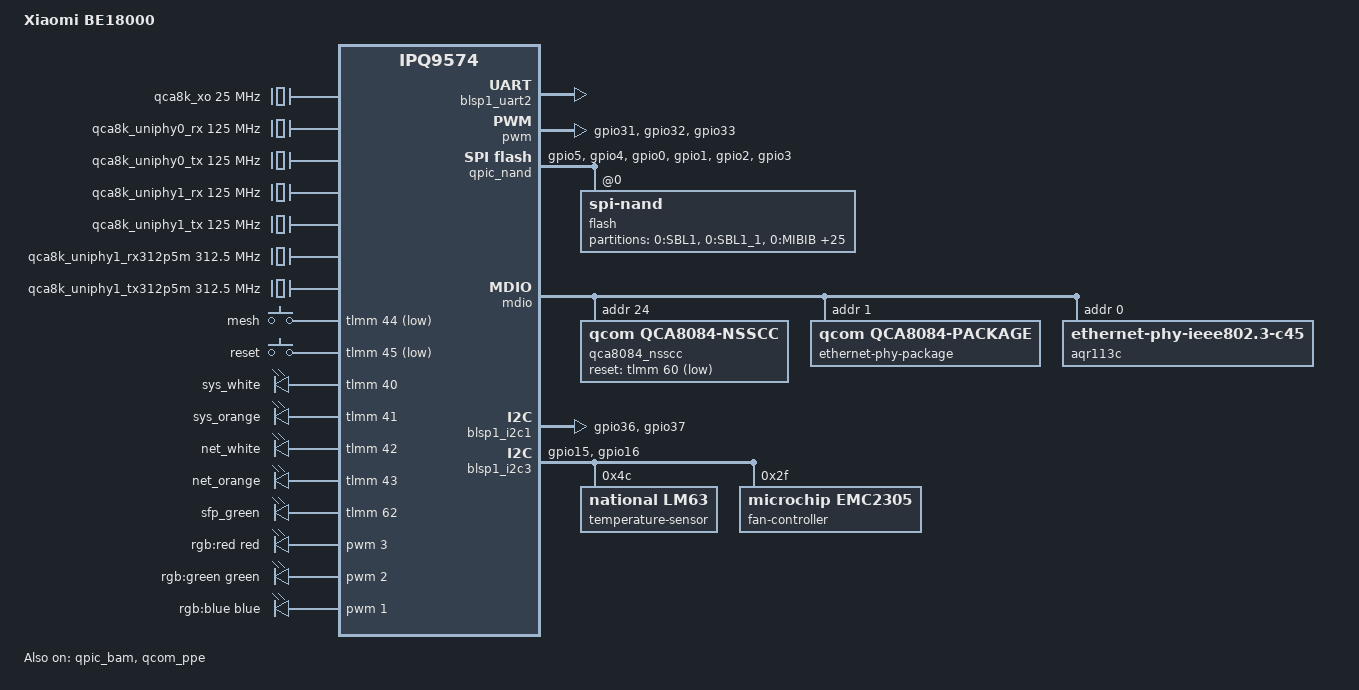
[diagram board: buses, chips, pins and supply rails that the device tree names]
// SPDX-License-Identifier: (GPL-2.0+ OR BSD-3-Clause)
/*
 * Xiaomi Router BE18000 Pro Max (hardware-converted BE10000)
 *
 * The running QWRT 5.4.250 system identifies this unit as
 * "xiaomi,be18000".  Keep that first compatible string: it is the
 * OpenWrt board name used by 02_network, platform.sh and the ath12k
 * calibration/board selection.
 *
 * This board file starts with the boot-critical UART, clocks, NAND and
 * board I/O.  The QCA8084/AQR Ethernet and the three QCN9224 radios are
 * staged separately so a radio or PHY failure cannot take away the
 * serial/management path.
 */

/dts-v1/;

#include <dt-bindings/clock/qcom,qca8k-nsscc.h>
#include <dt-bindings/gpio/gpio.h>
#include <dt-bindings/input/input.h>
#include <dt-bindings/leds/common.h>
#include <dt-bindings/net/qcom,qca808x.h>
#include <dt-bindings/reset/qcom,qca8k-nsscc.h>
#include "ipq9574.dtsi"

/ {
	model = "Xiaomi BE18000";
	compatible = "xiaomi,be18000", "qcom,ipq9574-ap-al02-c4", "qcom,ipq9574";

	aliases {
		led-boot = &led_sys_orange;
		led-failsafe = &led_sys_orange;
		led-running = &led_sys_white;
		led-upgrade = &led_sys_white;

		serial0 = &blsp1_uart2;
	};

	chosen {
		stdout-path = "serial0:115200n8";

		/*
		 * The fork's generic 6.18 command-line hack appends this to
		 * the bootloader command line.  The UBI volume IDs are
		 * verified against the generated factory image before the
		 * first NAND boot; an initramfs boot still runs its own
		 * /init and does not need this argument.
		 */
		bootargs-append = " root=/dev/ubiblock0_1";
	};

	/*
	 * QCA8084 NSSCC reference clocks.  The upstream clock driver
	 * expects seven parents; these are the documented 25 MHz XO and
	 * 125/312.5 MHz SerDes references.  The exact board frequencies
	 * remain a Phase B scope/hardware check.
	 */
	qca8k_xo: qca8k-xo {
		compatible = "fixed-clock";
		#clock-cells = <0>;
		clock-frequency = <25000000>;
	};

	qca8k_uniphy0_rx: qca8k-uniphy0-rx {
		compatible = "fixed-clock";
		#clock-cells = <0>;
		clock-frequency = <125000000>;
	};

	qca8k_uniphy0_tx: qca8k-uniphy0-tx {
		compatible = "fixed-clock";
		#clock-cells = <0>;
		clock-frequency = <125000000>;
	};

	qca8k_uniphy1_rx: qca8k-uniphy1-rx {
		compatible = "fixed-clock";
		#clock-cells = <0>;
		clock-frequency = <125000000>;
	};

	qca8k_uniphy1_tx: qca8k-uniphy1-tx {
		compatible = "fixed-clock";
		#clock-cells = <0>;
		clock-frequency = <125000000>;
	};

	qca8k_uniphy1_rx312p5m: qca8k-uniphy1-rx312p5m {
		compatible = "fixed-clock";
		#clock-cells = <0>;
		clock-frequency = <312500000>;
	};

	qca8k_uniphy1_tx312p5m: qca8k-uniphy1-tx312p5m {
		compatible = "fixed-clock";
		#clock-cells = <0>;
		clock-frequency = <312500000>;
	};

	reserved-memory {
		/*
		 * QCN9224 host DDR windows from the live QWRT DT.  Each
		 * radio owns 50 MiB; the caldb window is the upper 8 MiB
		 * at +0x1e00000 and is described only when the cold-boot
		 * handshake is implemented.
		 */
		qcn9224_pcie1: qcn9224-pcie1@50f00000 {
			reg = <0x0 0x50f00000 0x0 0x3200000>;
			no-map;
		};

		qcn9224_pcie2: qcn9224-pcie2@54100000 {
			reg = <0x0 0x54100000 0x0 0x3200000>;
			no-map;
		};

		qcn9224_pcie3: qcn9224-pcie3@57300000 {
			reg = <0x0 0x57300000 0x0 0x3200000>;
			no-map;
		};

		m3_dump: m3-dump@4d600000 {
			reg = <0x0 0x4d600000 0x0 0x100000>;
			no-map;
		};

		q6_etr_dump: q6-etr-dump@4d700000 {
			reg = <0x0 0x4d700000 0x0 0x100000>;
			no-map;
		};

		/*
		 * Use the disabled qcn9224_pcie0 window for pstore.  Keep
		 * this reservation clear of the active QCN9224 windows and
		 * verify it against /proc/iomem before enabling pstore in a
		 * production image.
		 */
		ramoops@4dd00000 {
			compatible = "ramoops";
			reg = <0x0 0x4dd00000 0x0 0x400000>;
			record-size = <0x20000>;
			console-size = <0x20000>;
			pmsg-size = <0x20000>;
			ftrace-size = <0x20000>;
			no-map;
		};
	};

	gpio-keys {
		compatible = "gpio-keys";
		pinctrl-0 = <&button_pins>;
		pinctrl-names = "default";

		mesh {
			label = "mesh";
			linux,code = <0x109>; /* BTN_9, live QWRT code */
			gpios = <&tlmm 44 GPIO_ACTIVE_LOW>;
			linux,input-type = <EV_KEY>;
			debounce-interval = <60>;
		};

		reset {
			label = "reset";
			linux,code = <KEY_RESTART>;
			gpios = <&tlmm 45 GPIO_ACTIVE_LOW>;
			linux,input-type = <EV_KEY>;
			debounce-interval = <60>;
		};
	};

	leds-gpio {
		compatible = "gpio-leds";
		pinctrl-0 = <&leds_pins>;
		pinctrl-names = "default";

		led_sys_white: sys-white {
			label = "sys_white";
			gpios = <&tlmm 40 GPIO_ACTIVE_HIGH>;
			default-state = "off";
		};

		led_sys_orange: sys-orange {
			label = "sys_orange";
			gpios = <&tlmm 41 GPIO_ACTIVE_HIGH>;
			default-state = "off";
		};

		led_net_white: net-white {
			label = "net_white";
			gpios = <&tlmm 42 GPIO_ACTIVE_HIGH>;
			default-state = "off";
		};

		led_net_orange: net-orange {
			label = "net_orange";
			gpios = <&tlmm 43 GPIO_ACTIVE_HIGH>;
			default-state = "off";
		};

		led_sfp_green: sfp-green {
			label = "sfp_green";
			gpios = <&tlmm 62 GPIO_ACTIVE_HIGH>;
			linux,default-trigger = "netdev";
			default-state = "off";
		};
	};

	leds-pwm {
		compatible = "pwm-leds";
		pinctrl-0 = <&pwm_pins>;
		pinctrl-names = "default";

		led_rgb_red: rgb-red {
			label = "rgb:red";
			color = <LED_COLOR_ID_RED>;
			pwms = <&pwm 3 51000 0>;
			max-brightness = <255>;
		};

		led_rgb_green: rgb-green {
			label = "rgb:green";
			color = <LED_COLOR_ID_GREEN>;
			pwms = <&pwm 2 51000 0>;
			max-brightness = <255>;
		};

		led_rgb_blue: rgb-blue {
			label = "rgb:blue";
			color = <LED_COLOR_ID_BLUE>;
			pwms = <&pwm 1 51000 0>;
			max-brightness = <255>;
		};
	};
};

&blsp1_uart2 {
	pinctrl-0 = <&uart2_pins>;
	pinctrl-names = "default";
	status = "okay";
};

&sleep_clk {
	clock-frequency = <32000>;
};

&rpm_requests {
	regulators {
		compatible = "qcom,rpm-mp5496-regulators";

		ipq9574_s1: s1 {
			/*
			 * The bootloader leaves the CPU rail at the SVS
			 * voltage. Keep the minimum at 725 mV so regulator
			 * registration does not briefly request the lowest
			 * supported voltage.
			 */
			regulator-min-microvolt = <725000>;
			regulator-max-microvolt = <1075000>;
		};
	};
};

&xo_clk {
	clock-frequency = <48000000>;
};

&ref_48mhz_clk {
	clock-div = <1>;
	clock-mult = <1>;
};

&xo_board_clk {
	clock-div = <2>;
	clock-mult = <1>;
};

&pwm {
	pinctrl-0 = <&pwm_pins>;
	pinctrl-names = "default";
	status = "okay";
};

&qpic_bam {
	status = "okay";
};

&qpic_nand {
	pinctrl-0 = <&qpic_snand_pins>;
	pinctrl-names = "default";
	status = "okay";

	flash@0 {
		compatible = "spi-nand";
		reg = <0>;
		#address-cells = <1>;
		#size-cells = <1>;

		nand-ecc-engine = <&qpic_nand>;
		nand-ecc-strength = <4>;
		nand-ecc-step-size = <512>;
		nand-bus-width = <8>;
		spi-rx-bus-width = <4>;
		spi-tx-bus-width = <4>;

		partitions {
			compatible = "fixed-partitions";
			#address-cells = <1>;
			#size-cells = <1>;

			partition@0 {
				label = "0:SBL1";
				reg = <0x0 0x180000>;
				read-only;
			};

			partition@180000 {
				label = "0:SBL1_1";
				reg = <0x180000 0x180000>;
				read-only;
			};

			partition@300000 {
				label = "0:MIBIB";
				reg = <0x300000 0x100000>;
				read-only;
			};

			partition@400000 {
				label = "0:BOOTCONFIG";
				reg = <0x400000 0x80000>;
				read-only;
			};

			partition@480000 {
				label = "0:BOOTCONFIG1";
				reg = <0x480000 0x80000>;
				read-only;
			};

			partition@500000 {
				label = "0:QSEE";
				reg = <0x500000 0x380000>;
				read-only;
			};

			partition@880000 {
				label = "0:QSEE_1";
				reg = <0x880000 0x380000>;
				read-only;
			};

			partition@c00000 {
				label = "0:DEVCFG";
				reg = <0xc00000 0x80000>;
				read-only;
			};

			partition@c80000 {
				label = "0:DEVCFG_1";
				reg = <0xc80000 0x80000>;
				read-only;
			};

			partition@d00000 {
				label = "0:APDP";
				reg = <0xd00000 0x80000>;
				read-only;
			};

			partition@d80000 {
				label = "0:APDP_1";
				reg = <0xd80000 0x80000>;
				read-only;
			};

			partition@e00000 {
				label = "0:TME";
				reg = <0xe00000 0x80000>;
				read-only;
			};

			partition@e80000 {
				label = "0:TME_1";
				reg = <0xe80000 0x80000>;
				read-only;
			};

			partition@f00000 {
				label = "0:RPM";
				reg = <0xf00000 0x80000>;
				read-only;
			};

			partition@f80000 {
				label = "0:RPM_1";
				reg = <0xf80000 0x80000>;
				read-only;
			};

			partition@1000000 {
				label = "0:CDT";
				reg = <0x1000000 0x80000>;
				read-only;
			};

			partition@1080000 {
				label = "0:CDT_1";
				reg = <0x1080000 0x80000>;
				read-only;
			};

			partition@1100000 {
				label = "0:APPSBLENV";
				reg = <0x1100000 0x80000>;
			};

			partition@1180000 {
				label = "0:APPSBL";
				reg = <0x1180000 0x180000>;
				read-only;
			};

			partition@1300000 {
				label = "0:APPSBL_1";
				reg = <0x1300000 0x180000>;
				read-only;
			};

			partition@1480000 {
				label = "0:ART";
				reg = <0x1480000 0x140000>;
				read-only;

				nvmem-layout {
					compatible = "fixed-layout";
					#address-cells = <1>;
					#size-cells = <1>;

					ethaddr: ethaddr@0 {
						compatible = "mac-base";
						reg = <0x0 0x6>;
						#nvmem-cell-cells = <1>;
					};
				};
			};

			partition@15c0000 {
				label = "0:ETHPHYFW";
				reg = <0x15c0000 0x100000>;
				read-only;

				nvmem-layout {
					compatible = "fixed-layout";
					#address-cells = <1>;
					#size-cells = <1>;

					aqr_fw: aqr-fw@28 {
						reg = <0x28 0x60002>;
					};
				};
			};

			partition@16c0000 {
				label = "0:TRAINING";
				reg = <0x16c0000 0x80000>;
				read-only;
			};

			partition@1740000 {
				label = "0:LICENSE";
				reg = <0x1740000 0x40000>;
				read-only;
			};

			partition@1780000 {
				label = "rootfs";
				reg = <0x1780000 0xbe00000>;
				linux,rootfs;
			};

			partition@d580000 {
				label = "bdata";
				reg = <0xd580000 0x40000>;
				read-only;
			};

			partition@d5c0000 {
				label = "crash";
				reg = <0xd5c0000 0x40000>;
				read-only;
			};

			partition@d600000 {
				label = "crash_syslog";
				reg = <0xd600000 0x40000>;
				read-only;
			};
		};
	};
};

&mdio {
	status = "okay";

	/*
	 * The QCA8084 package contains the PHY clock/reset controller.
	 * It owns the shared package reset GPIO; do not also put
	 * reset-gpios on the MDIO bus or the package node.
	 */
	qca8084_nsscc: clock-controller@18 {
		compatible = "qcom,qca8084-nsscc";
		reg = <0x18>;
		reset-gpios = <&tlmm 60 GPIO_ACTIVE_LOW>;
		clocks = <&qca8k_xo>,
			 <&qca8k_uniphy0_rx>,
			 <&qca8k_uniphy0_tx>,
			 <&qca8k_uniphy1_rx>,
			 <&qca8k_uniphy1_tx>,
			 <&qca8k_uniphy1_rx312p5m>,
			 <&qca8k_uniphy1_tx312p5m>;
		#clock-cells = <1>;
		#reset-cells = <1>;
		#power-domain-cells = <1>;
	};

	ethernet-phy-package@1 {
		compatible = "qcom,qca8084-package";
		reg = <1>;
		#address-cells = <1>;
		#size-cells = <0>;
		qcom,package-mode = <QCA808X_PCS1_10G_QXGMII_PCS0_UNUNSED>;
		qcom,phy-addr-fixup = <1 2 3 4 5 6 7>;

		clocks = <&qca8084_nsscc NSS_CC_APB_BRIDGE_CLK>,
			 <&qca8084_nsscc NSS_CC_AHB_CLK>,
			 <&qca8084_nsscc NSS_CC_SEC_CTRL_AHB_CLK>,
			 <&qca8084_nsscc NSS_CC_TLMM_CLK>,
			 <&qca8084_nsscc NSS_CC_TLMM_AHB_CLK>,
			 <&qca8084_nsscc NSS_CC_CNOC_AHB_CLK>,
			 <&qca8084_nsscc NSS_CC_MDIO_AHB_CLK>;
		clock-names = "apb_bridge", "ahb", "sec_ctrl_ahb",
			      "tlmm", "tlmm_ahb", "cnoc_ahb", "mdio_ahb";
		resets = <&qca8084_nsscc NSS_CC_GEPHY_FULL_ARES>;

		qca8084_phy1: ethernet-phy@1 {
			compatible = "ethernet-phy-id004d.d180";
			reg = <1>;
			clocks = <&qca8084_nsscc NSS_CC_GEPHY0_SYS_CLK>;
			resets = <&qca8084_nsscc NSS_CC_GEPHY0_SYS_ARES>;
			qcom,xpcs-channel = <0>;
		};

		qca8084_phy2: ethernet-phy@2 {
			compatible = "ethernet-phy-id004d.d180";
			reg = <2>;
			clocks = <&qca8084_nsscc NSS_CC_GEPHY1_SYS_CLK>;
			resets = <&qca8084_nsscc NSS_CC_GEPHY1_SYS_ARES>;
			qcom,xpcs-channel = <1>;
		};

		qca8084_phy3: ethernet-phy@3 {
			compatible = "ethernet-phy-id004d.d180";
			reg = <3>;
			clocks = <&qca8084_nsscc NSS_CC_GEPHY2_SYS_CLK>;
			resets = <&qca8084_nsscc NSS_CC_GEPHY2_SYS_ARES>;
			qcom,xpcs-channel = <2>;
		};

		qca8084_phy4: ethernet-phy@4 {
			compatible = "ethernet-phy-id004d.d180";
			reg = <4>;
			clocks = <&qca8084_nsscc NSS_CC_GEPHY3_SYS_CLK>;
			resets = <&qca8084_nsscc NSS_CC_GEPHY3_SYS_ARES>;
			qcom,xpcs-channel = <3>;
		};

		pcs-phy@6 {
			compatible = "qcom,qca8k-pcs-phy";
			reg = <6>;
			clocks = <&qca8084_nsscc NSS_CC_SRDS1_SYS_CLK>,
				 <&qca8k_uniphy1_tx312p5m>,
				 <&qca8k_uniphy1_rx312p5m>;
			clock-names = "pcs", "pcs_rx_root", "pcs_tx_root";
			resets = <&qca8084_nsscc NSS_CC_SRDS1_SYS_ARES>;
		};

		xpcs-phy@7 {
			compatible = "qcom,qca8k-xpcs-phy";
			reg = <7>;
			#address-cells = <1>;
			#size-cells = <0>;
			resets = <&qca8084_nsscc NSS_CC_XPCS_ARES>;

			channel@0 {
				reg = <0>;
				clocks = <&qca8084_nsscc NSS_CC_MAC1_SRDS1_CH0_XGMII_TX_CLK>,
					 <&qca8084_nsscc NSS_CC_MAC1_SRDS1_CH0_XGMII_RX_CLK>,
					 <&qca8084_nsscc NSS_CC_MAC1_SRDS1_CH0_TX_CLK>,
					 <&qca8084_nsscc NSS_CC_MAC1_SRDS1_CH0_RX_CLK>,
					 <&qca8084_nsscc NSS_CC_MAC1_GEPHY0_RX_CLK>,
					 <&qca8084_nsscc NSS_CC_MAC1_GEPHY0_TX_CLK>,
					 <&qca8084_nsscc NSS_CC_MAC1_RX_CLK_SRC>,
					 <&qca8084_nsscc NSS_CC_MAC1_TX_CLK_SRC>;
				clock-names = "xgmii_rx", "xgmii_tx",
					      "xpcs_rx", "xpcs_tx",
					      "port_rx", "port_tx",
					      "rx_src", "tx_src";
				resets = <&qca8084_nsscc NSS_CC_MAC1_SRDS1_CH0_XGMII_TX_ARES>,
					 <&qca8084_nsscc NSS_CC_MAC1_SRDS1_CH0_XGMII_RX_ARES>,
					 <&qca8084_nsscc NSS_CC_MAC1_SRDS1_CH0_TX_ARES>,
					 <&qca8084_nsscc NSS_CC_MAC1_SRDS1_CH0_RX_ARES>,
					 <&qca8084_nsscc NSS_CC_MAC1_GEPHY0_RX_ARES>,
					 <&qca8084_nsscc NSS_CC_MAC1_GEPHY0_TX_ARES>;
				reset-names = "xgmii_rx", "xgmii_tx",
					      "xpcs_rx", "xpcs_tx",
					      "port_rx", "port_tx";
			};

			channel@1 {
				reg = <1>;
				clocks = <&qca8084_nsscc NSS_CC_MAC2_SRDS1_CH1_XGMII_TX_CLK>,
					 <&qca8084_nsscc NSS_CC_MAC2_SRDS1_CH1_XGMII_RX_CLK>,
					 <&qca8084_nsscc NSS_CC_MAC2_SRDS1_CH1_TX_CLK>,
					 <&qca8084_nsscc NSS_CC_MAC2_SRDS1_CH1_RX_CLK>,
					 <&qca8084_nsscc NSS_CC_MAC2_GEPHY1_RX_CLK>,
					 <&qca8084_nsscc NSS_CC_MAC2_GEPHY1_TX_CLK>,
					 <&qca8084_nsscc NSS_CC_MAC2_RX_CLK_SRC>,
					 <&qca8084_nsscc NSS_CC_MAC2_TX_CLK_SRC>;
				clock-names = "xgmii_rx", "xgmii_tx",
					      "xpcs_rx", "xpcs_tx",
					      "port_rx", "port_tx",
					      "rx_src", "tx_src";
				resets = <&qca8084_nsscc NSS_CC_MAC2_SRDS1_CH1_XGMII_TX_ARES>,
					 <&qca8084_nsscc NSS_CC_MAC2_SRDS1_CH1_XGMII_RX_ARES>,
					 <&qca8084_nsscc NSS_CC_MAC2_SRDS1_CH1_TX_ARES>,
					 <&qca8084_nsscc NSS_CC_MAC2_SRDS1_CH1_RX_ARES>,
					 <&qca8084_nsscc NSS_CC_MAC2_GEPHY1_RX_ARES>,
					 <&qca8084_nsscc NSS_CC_MAC2_GEPHY1_TX_ARES>;
				reset-names = "xgmii_rx", "xgmii_tx",
					      "xpcs_rx", "xpcs_tx",
					      "port_rx", "port_tx";
			};

			channel@2 {
				reg = <2>;
				clocks = <&qca8084_nsscc NSS_CC_MAC3_SRDS1_CH2_XGMII_TX_CLK>,
					 <&qca8084_nsscc NSS_CC_MAC3_SRDS1_CH2_XGMII_RX_CLK>,
					 <&qca8084_nsscc NSS_CC_MAC3_SRDS1_CH2_TX_CLK>,
					 <&qca8084_nsscc NSS_CC_MAC3_SRDS1_CH2_RX_CLK>,
					 <&qca8084_nsscc NSS_CC_MAC3_GEPHY2_RX_CLK>,
					 <&qca8084_nsscc NSS_CC_MAC3_GEPHY2_TX_CLK>,
					 <&qca8084_nsscc NSS_CC_MAC3_RX_CLK_SRC>,
					 <&qca8084_nsscc NSS_CC_MAC3_TX_CLK_SRC>;
				clock-names = "xgmii_rx", "xgmii_tx",
					      "xpcs_rx", "xpcs_tx",
					      "port_rx", "port_tx",
					      "rx_src", "tx_src";
				resets = <&qca8084_nsscc NSS_CC_MAC3_SRDS1_CH2_XGMII_TX_ARES>,
					 <&qca8084_nsscc NSS_CC_MAC3_SRDS1_CH2_XGMII_RX_ARES>,
					 <&qca8084_nsscc NSS_CC_MAC3_SRDS1_CH2_TX_ARES>,
					 <&qca8084_nsscc NSS_CC_MAC3_SRDS1_CH2_RX_ARES>,
					 <&qca8084_nsscc NSS_CC_MAC3_GEPHY2_RX_ARES>,
					 <&qca8084_nsscc NSS_CC_MAC3_GEPHY2_TX_ARES>;
				reset-names = "xgmii_rx", "xgmii_tx",
					      "xpcs_rx", "xpcs_tx",
					      "port_rx", "port_tx";
			};

			channel@3 {
				reg = <3>;
				clocks = <&qca8084_nsscc NSS_CC_MAC4_SRDS1_CH3_XGMII_TX_CLK>,
					 <&qca8084_nsscc NSS_CC_MAC4_SRDS1_CH3_XGMII_RX_CLK>,
					 <&qca8084_nsscc NSS_CC_MAC4_SRDS1_CH3_TX_CLK>,
					 <&qca8084_nsscc NSS_CC_MAC4_SRDS1_CH3_RX_CLK>,
					 <&qca8084_nsscc NSS_CC_MAC4_GEPHY3_RX_CLK>,
					 <&qca8084_nsscc NSS_CC_MAC4_GEPHY3_TX_CLK>,
					 <&qca8084_nsscc NSS_CC_MAC4_RX_CLK_SRC>,
					 <&qca8084_nsscc NSS_CC_MAC4_TX_CLK_SRC>;
				clock-names = "xgmii_rx", "xgmii_tx",
					      "xpcs_rx", "xpcs_tx",
					      "port_rx", "port_tx",
					      "rx_src", "tx_src";
				resets = <&qca8084_nsscc NSS_CC_MAC4_SRDS1_CH3_XGMII_TX_ARES>,
					 <&qca8084_nsscc NSS_CC_MAC4_SRDS1_CH3_XGMII_RX_ARES>,
					 <&qca8084_nsscc NSS_CC_MAC4_SRDS1_CH3_TX_ARES>,
					 <&qca8084_nsscc NSS_CC_MAC4_SRDS1_CH3_RX_ARES>,
					 <&qca8084_nsscc NSS_CC_MAC4_GEPHY3_RX_ARES>,
					 <&qca8084_nsscc NSS_CC_MAC4_GEPHY3_TX_ARES>;
				reset-names = "xgmii_rx", "xgmii_tx",
					      "xpcs_rx", "xpcs_tx",
					      "port_rx", "port_tx";
			};
		};
	};

	aqr113c: ethernet-phy@0 {
		compatible = "ethernet-phy-ieee802.3-c45";
		reg = <0>;
		nvmem-cells = <&aqr_fw>;
		nvmem-cell-names = "firmware";
	};
};

&qcom_ppe {
	status = "okay";

	ethernet-ports {
		#address-cells = <1>;
		#size-cells = <0>;

		port@1 {
			reg = <1>;
			phy-mode = "10g-qxgmii";
			phy-handle = <&qca8084_phy1>;
			pcs-handle = <&pcs0_ch0>;
			managed = "in-band-status";
			label = "lan1";

			nvmem-cells = <&ethaddr 1>;
			nvmem-cell-names = "mac-address";

			clocks = <&nsscc NSS_CC_PORT1_MAC_CLK>,
				 <&nsscc NSS_CC_PORT1_RX_CLK>,
				 <&nsscc NSS_CC_PORT1_TX_CLK>;
			clock-names = "mac", "rx", "tx";

			resets = <&nsscc PORT1_MAC_ARES>,
				 <&nsscc PORT1_RX_ARES>,
				 <&nsscc PORT1_TX_ARES>;
			reset-names = "mac", "rx", "tx";
		};

		port@2 {
			reg = <2>;
			phy-mode = "10g-qxgmii";
			phy-handle = <&qca8084_phy2>;
			pcs-handle = <&pcs0_ch1>;
			managed = "in-band-status";
			label = "lan2";

			nvmem-cells = <&ethaddr 1>;
			nvmem-cell-names = "mac-address";

			clocks = <&nsscc NSS_CC_PORT2_MAC_CLK>,
				 <&nsscc NSS_CC_PORT2_RX_CLK>,
				 <&nsscc NSS_CC_PORT2_TX_CLK>;
			clock-names = "mac", "rx", "tx";

			resets = <&nsscc PORT2_MAC_ARES>,
				 <&nsscc PORT2_RX_ARES>,
				 <&nsscc PORT2_TX_ARES>;
			reset-names = "mac", "rx", "tx";
		};

		port@3 {
			reg = <3>;
			phy-mode = "10g-qxgmii";
			phy-handle = <&qca8084_phy3>;
			pcs-handle = <&pcs0_ch2>;
			managed = "in-band-status";
			label = "lan3";

			nvmem-cells = <&ethaddr 1>;
			nvmem-cell-names = "mac-address";

			clocks = <&nsscc NSS_CC_PORT3_MAC_CLK>,
				 <&nsscc NSS_CC_PORT3_RX_CLK>,
				 <&nsscc NSS_CC_PORT3_TX_CLK>;
			clock-names = "mac", "rx", "tx";

			resets = <&nsscc PORT3_MAC_ARES>,
				 <&nsscc PORT3_RX_ARES>,
				 <&nsscc PORT3_TX_ARES>;
			reset-names = "mac", "rx", "tx";
		};

		port@4 {
			reg = <4>;
			phy-mode = "10g-qxgmii";
			phy-handle = <&qca8084_phy4>;
			pcs-handle = <&pcs0_ch3>;
			managed = "in-band-status";
			label = "lan4";

			nvmem-cells = <&ethaddr 1>;
			nvmem-cell-names = "mac-address";

			clocks = <&nsscc NSS_CC_PORT4_MAC_CLK>,
				 <&nsscc NSS_CC_PORT4_RX_CLK>,
				 <&nsscc NSS_CC_PORT4_TX_CLK>;
			clock-names = "mac", "rx", "tx";

			resets = <&nsscc PORT4_MAC_ARES>,
				 <&nsscc PORT4_RX_ARES>,
				 <&nsscc PORT4_TX_ARES>;
			reset-names = "mac", "rx", "tx";
		};

		port@5 {
			reg = <5>;
			phy-mode = "usxgmii";
			phy-handle = <&aqr113c>;
			pcs-handle = <&pcs1_ch0>;
			managed = "in-band-status";
			label = "wan";

			nvmem-cells = <&ethaddr 0>;
			nvmem-cell-names = "mac-address";

			clocks = <&nsscc NSS_CC_PORT5_MAC_CLK>,
				 <&nsscc NSS_CC_PORT5_RX_CLK>,
				 <&nsscc NSS_CC_PORT5_TX_CLK>;
			clock-names = "mac", "rx", "tx";

			resets = <&nsscc PORT5_MAC_ARES>,
				 <&nsscc PORT5_RX_ARES>,
				 <&nsscc PORT5_TX_ARES>;
			reset-names = "mac", "rx", "tx";
		};
	};
};

&blsp1_i2c1 {
	pinctrl-0 = <&i2c1_pins>;
	pinctrl-names = "default";
	status = "okay";

	/* Xiaomi NFC is a vendor driver; keep the address documented only. */
	nfc@54 {
		compatible = "miwifi,nfc";
		reg = <0x54>;
		status = "disabled";
	};
};

&blsp1_i2c3 {
	pinctrl-0 = <&i2c3_pins>;
	pinctrl-names = "default";
	status = "okay";

	temperature-sensor@4c {
		compatible = "national,lm63";
		reg = <0x4c>;
	};

	fan-controller@2f {
		compatible = "microchip,emc2305";
		reg = <0x2f>;
	};
};

&tlmm {
	leds_pins: leds-pins {
		sys-white {
			pins = "gpio40";
			function = "gpio";
			drive-strength = <8>;
			bias-pull-down;
		};

		sys-orange {
			pins = "gpio41";
			function = "gpio";
			drive-strength = <8>;
			bias-pull-down;
		};

		net-white {
			pins = "gpio42";
			function = "gpio";
			drive-strength = <8>;
			bias-pull-down;
		};

		net-orange {
			pins = "gpio43";
			function = "gpio";
			drive-strength = <8>;
			bias-pull-down;
		};

		sfp-green {
			pins = "gpio62";
			function = "gpio";
			drive-strength = <8>;
			bias-pull-down;
		};
	};

	pwm_pins: pwm-pins {
		mux-1 {
			pins = "gpio31";
			function = "pwm11";
			drive-strength = <8>;
		};

		mux-2 {
			pins = "gpio32";
			function = "pwm21";
			drive-strength = <8>;
		};

		mux-3 {
			pins = "gpio33";
			function = "pwm31";
			drive-strength = <8>;
		};
	};

	button_pins: button-pins {
		mesh-button {
			pins = "gpio44";
			function = "gpio";
			drive-strength = <8>;
			bias-pull-up;
		};

		reset-button {
			pins = "gpio45";
			function = "gpio";
			drive-strength = <8>;
			bias-pull-up;
		};
	};

	qpic_snand_pins: qpic-snand-pins {
		qspi-clock {
			pins = "gpio5";
			function = "qspi_clk";
			drive-strength = <8>;
			bias-disable;
		};

		qspi-cs {
			pins = "gpio4";
			function = "qspi_cs";
			drive-strength = <8>;
			bias-disable;
		};

		qspi-data {
			pins = "gpio0", "gpio1", "gpio2", "gpio3";
			function = "qspi_data";
			drive-strength = <8>;
			bias-disable;
		};
	};

	i2c1_pins: i2c1-pins {
		pins = "gpio36", "gpio37";
		function = "blsp1_i2c";
		drive-strength = <8>;
		bias-disable;
	};

	i2c3_pins: i2c3-pins {
		pins = "gpio15", "gpio16";
		function = "blsp3_i2c";
		drive-strength = <8>;
		bias-disable;
	};

	/*
	 * The SoC DTSI references this label from the disabled SDHC node.
	 * Keep the group defined so the board DTB links even though this
	 * board boots from QPIC NAND.
	 */
	sdc_default_state: sdc-default-state {
		clk-pins {
			pins = "gpio5";
			function = "sdc_clk";
			drive-strength = <8>;
			bias-disable;
		};

		cmd-pins {
			pins = "gpio4";
			function = "sdc_cmd";
			drive-strength = <8>;
			bias-pull-up;
		};

		data-pins {
			pins = "gpio0", "gpio1", "gpio2",
				"gpio3", "gpio6", "gpio7",
				"gpio8", "gpio9";
			function = "sdc_data";
			drive-strength = <8>;
			bias-pull-up;
		};

		rclk-pins {
			pins = "gpio10";
			function = "sdc_rclk";
			drive-strength = <8>;
			bias-pull-down;
		};
	};
};
